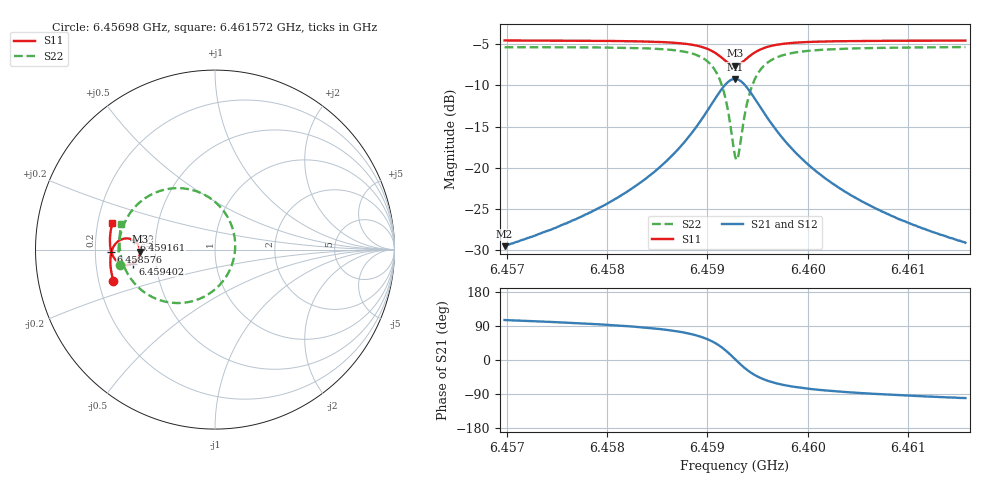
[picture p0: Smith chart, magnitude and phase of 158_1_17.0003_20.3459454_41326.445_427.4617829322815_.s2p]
#  HZ  S  RI  R  50.00
! Rohde & Schwarz Vector Network Analyzer
! Rohde-Schwarz,ZNB20-2Port,1311601062101988,3.16
! Created: UTC 3/20/2024, 10:59:07 PM
! freq[Hz]  re:S11  im:S11  re:S21  im:S21  re:S12  im:S12  re:S22  im:S22
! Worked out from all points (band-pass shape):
!   401 points, 6.45698 GHz to 6.461572 GHz, reference 50 ohm
!   highest |S21| = -9.21 dB at 6.459276 GHz (marker M1); lowest = -29.5 dB at 6.45698 GHz (marker M2)
!   |S21| within 3 dB of the highest: 6.459047 GHz to 6.459505 GHz (458.4 kHz wide, 0.0071 % of centre)
!   lowest |S11| = -7.6 dB at 6.459276 GHz (marker M3), VSWR 2.43, Z = 20.6 - j0.58 ohm
!   |S11| at or under -10 dB: nowhere
!   |S22| runs from -19.0 to -5.3 dB; largest |S21 - S12| = 0.013
!   S11 on the Smith chart (normalised r, x): 6.45698 GHz: 0.26, -0.14; 6.458576 GHz: 0.27, -0.01; 6.459161 GHz: 0.37, +0.05; 6.459402 GHz: 0.37, -0.07; 6.461572 GHz: 0.26, +0.12
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6.4569798e9  -0.5662 -0.1734  -0.00893 0.0323  -0.0073 0.0324  -0.5318 -0.0858
6.457749e9  -0.5803 -0.1061  -0.00569 0.0504  -0.00309 0.0499  -0.5375 0.00413
6.4581853e9  -0.5833 -0.0623  0.000526 0.0706  0.0037 0.0694  -0.5291 0.0738
6.4585183e9  -0.5795 -0.0222  0.0141 0.099  0.018 0.0963  -0.5042 0.1493
6.4585757e9  -0.5778 -0.0142  0.0184 0.1059  0.0224 0.1029  -0.4961 0.1658
6.4587823e9  -0.5648 0.018  0.0459 0.1384  0.0499 0.1335  -0.4447 0.2388
6.4589316e9  -0.542 0.0443  0.0912 0.1691  0.0943 0.1625  -0.3611 0.3035
6.4590694e9  -0.4981 0.062  0.1786 0.1859  0.1795 0.1785  -0.2018 0.3424
6.4591612e9  -0.4531 0.0517  0.2686 0.1547  0.2692 0.1487  -0.0349 0.292
6.4592301e9  -0.4241 0.0195  0.3296 0.0825  0.3317 0.0773  0.0805 0.1623
6.459276e9  -0.4172 -0.0116  0.3461 0.0145  0.3497 0.00757  0.1127 0.0353
6.4592875e9  -0.4176 -0.0198  0.3457 -0.00336  0.3495 -0.0109  0.1122 0.00165
6.4593105e9  -0.4211 -0.0355  0.34 -0.0382  0.3439 -0.0471  0.1009 -0.0641
6.4593564e9  -0.4369 -0.0617  0.3115 -0.098  0.3137 -0.1099  0.0431 -0.1773
6.4594023e9  -0.4589 -0.078  0.2693 -0.1389  0.2685 -0.1522  -0.0418 -0.2519
6.4594942e9  -0.5024 -0.0848  0.1846 -0.1703  0.1784 -0.1818  -0.2106 -0.2977
6.4596434e9  -0.5464 -0.0645  0.0966 -0.1566  0.0882 -0.1627  -0.3777 -0.2485
6.4598042e9  -0.5679 -0.0368  0.0518 -0.1286  0.0441 -0.1315  -0.4582 -0.1767
6.4600453e9  -0.5809 -0.0013  0.0226 -0.0972  0.0168 -0.0979  -0.5062 -0.0943
6.4604012e9  -0.5856 0.0409  0.00619 -0.0698  0.00211 -0.0692  -0.5282 -0.0134
6.4608145e9  -0.5838 0.0824  -0.0013 -0.052  -0.00412 -0.0511  -0.5323 0.0525
6.4615723e9  -0.5718 0.1495  -0.00636 -0.0346  -0.00817 -0.0336  -0.5211 0.1422
